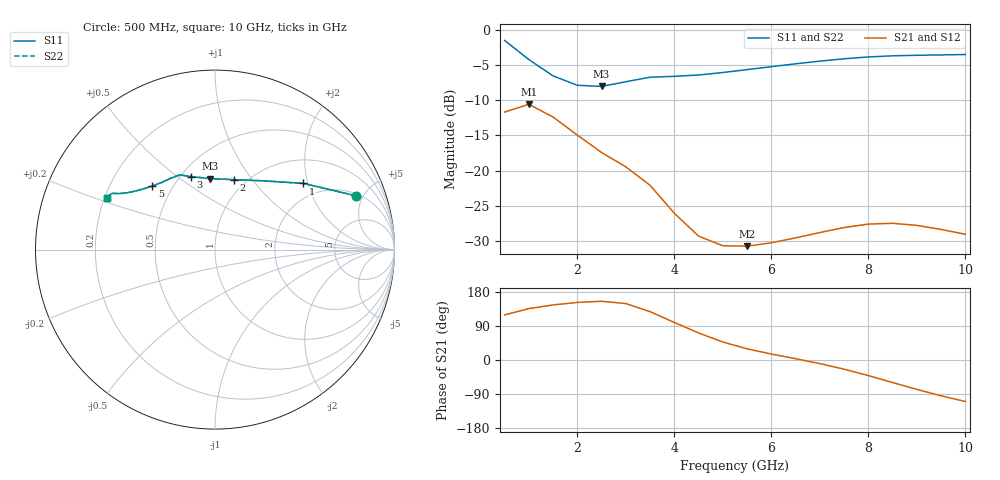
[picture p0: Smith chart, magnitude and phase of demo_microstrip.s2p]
! eps=1 microstrip MoM demo
! Schur 2-port S-param extraction
! Microstrip: L=20.00mm W=3.00mm h=1.60mm eps_eff=1.000
! nx=40 gauss=4 z0_ref=50.0ohm
! Created by mom Touchstone writer
# GHz S RI R 50.0
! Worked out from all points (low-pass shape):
!   20 points, 500 MHz to 10 GHz, reference 50 ohm
!   highest |S21| = -10.58 dB at 1 GHz (marker M1); lowest = -30.7 dB at 5.5 GHz (marker M2)
!   |S21| within 3 dB of the highest: start of sweep to 1.732 GHz
!   lowest |S11| = -8.0 dB at 2.5 GHz (marker M3), VSWR 2.31, Z = 34.7 + j32.6 ohm
!   |S11| at or under -10 dB: nowhere
!   |S22| runs from -8.0 to -1.5 dB; largest |S21 - S12| = 0
!   S11 on the Smith chart (normalised r, x): 500 MHz: 2.16, +4.40; 1 GHz: 1.58, +1.87; 2 GHz: 0.88, +0.82; 3 GHz: 0.56, +0.56; 5 GHz: 0.39, +0.36; 10 GHz: 0.21, +0.22
0.5  0.7847 0.3001  -0.1265 0.2279  -0.1265 0.2279  0.7847 0.3001
1  0.4922 0.3688  -0.2114 0.207  -0.2114 0.207  0.4922 0.3688
1.5  0.2736 0.3829  -0.1976 0.1366  -0.1976 0.1366  0.2736 0.3829
2  0.1059 0.3897  -0.1578 0.0841  -0.1578 0.0841  0.1059 0.3897
2.5  -0.0282 0.3954  -0.1219 0.0569  -0.1219 0.0569  -0.0282 0.3954
3  -0.1329 0.4069  -0.0912 0.0549  -0.0912 0.0549  -0.1329 0.4069
3.5  -0.1975 0.4162  -0.048 0.0624  -0.048 0.0624  -0.1975 0.4162
4  -0.2444 0.3983  -0.00781 0.0492  -0.00781 0.0492  -0.2444 0.3983
4.5  -0.2974 0.3738  0.011 0.0325  0.011 0.0325  -0.2974 0.3738
5  -0.3492 0.3543  0.0198 0.0216  0.0198 0.0216  -0.3492 0.3543
5.5  -0.3963 0.3392  0.0253 0.0143  0.0253 0.0143  -0.3963 0.3392
6  -0.4386 0.3274  0.0296 0.00835  0.0296 0.00835  -0.4386 0.3274
6.5  -0.4766 0.3188  0.0333 0.00196  0.0333 0.00196  -0.4766 0.3188
7  -0.5103 0.3138  0.0359 -0.00604  0.0359 -0.00604  -0.5103 0.3138
7.5  -0.5387 0.3124  0.036 -0.0162  0.036 -0.0162  -0.5387 0.3124
8  -0.56 0.3132  0.0315 -0.0275  0.0315 -0.0275  -0.56 0.3132
8.5  -0.5739 0.3128  0.0215 -0.0364  0.0215 -0.0364  -0.5739 0.3128
9  -0.5832 0.3079  0.00876 -0.0399  0.00876 -0.0399  -0.5832 0.3079
9.5  -0.5922 0.2987  -0.00298 -0.0381  -0.00298 -0.0381  -0.5922 0.2987
10  -0.6027 0.2876  -0.0118 -0.0333  -0.0118 -0.0333  -0.6027 0.2876
